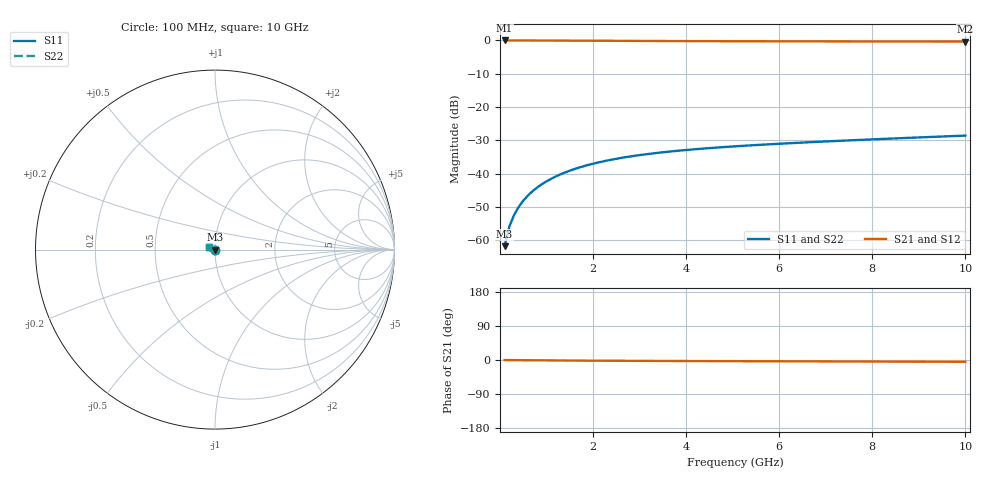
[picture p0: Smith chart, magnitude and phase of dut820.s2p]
! Touchstone file exported from HFSS 2024.1.0
!  File:  C:/UserFiles/LocalFiles/RDL_TSV_Batchsim/temp_TSV1_820_1779877999.aedt
!  Generated:  06:40:50 PM May 27, 2026
!  Design:  TSV1
!  Project:  temp_TSV1_820_1779877999
!  Setup:  Setup1
!  Solution:  Sweep
! Variables:
!  dtsv = 8.17um
!  hbump = 3um
!  htsv = 68.57um
!  lrdl = 252.1521522um
!  p = 40
!  p1 = 55.92um
!  t = 500um
!  trdl = 3um
!  wrdl = 24.89489489um
# GHz S MA R 50.000000
! Terminal data exported
! Port[1] = TSV22_T1
! Port[2] = TSV22_T2
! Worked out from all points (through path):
!   100 points, 100 MHz to 10 GHz, reference 50 ohm
!   highest |S21| = 0.00 dB at 100 MHz (marker M1); lowest = -0.3 dB at 10 GHz (marker M2)
!   lowest |S11| = -61.8 dB at 100 MHz (marker M3), VSWR 1.00, Z = 50 - j0.0793 ohm
!   |S11| at or under -10 dB: start of sweep to end of sweep
!   |S22| runs from -61.8 to -28.6 dB; largest |S21 - S12| = 4.1e-15
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0.1  0.00081 -78.1  0.9998 -0.1  0.9998 -0.1  0.00081 -78.1
! Gamma 0 0 0 0
! Port Impedance 50 0 50 0
0.2  0.001582 -87.3  0.9997 -0.2  0.9997 -0.2  0.001582 -87.3
0.3  0.002359 -91.9  0.9995 -0.3  0.9995 -0.3  0.002359 -91.9
0.4  0.003135 -95.3  0.9993 -0.4  0.9993 -0.4  0.003135 -95.3
0.5  0.003905 -98.2  0.999 -0.5  0.999 -0.5  0.003905 -98.2
0.6  0.004669 -100.8  0.9987 -0.6  0.9987 -0.6  0.004669 -100.8
0.7  0.005425 -103.3  0.9983 -0.7  0.9983 -0.7  0.005425 -103.3
0.8  0.006172 -105.7  0.9978 -0.8  0.9978 -0.8  0.006172 -105.7
0.9  0.006907 -108.0  0.9973 -0.9  0.9973 -0.9  0.006907 -108.0
1.1  0.008342 -112.5  0.9963 -1.1  0.9963 -1.1  0.008342 -112.5
1.4  0.01039 -118.7  0.9944 -1.3  0.9944 -1.3  0.01039 -118.7
1.6  0.01167 -122.7  0.9931 -1.5  0.9931 -1.5  0.01167 -122.7
1.8  0.0129 -126.5  0.9917 -1.6  0.9917 -1.6  0.0129 -126.5
2.1  0.0146 -132.0  0.9896 -1.8  0.9896 -1.8  0.0146 -132.0
2.5  0.01666 -138.8  0.9868 -2.1  0.9868 -2.1  0.01666 -138.8
2.9  0.01849 -145.1  0.9841 -2.3  0.9841 -2.3  0.01849 -145.1
3.4  0.02049 -152.3  0.9811 -2.5  0.9811 -2.5  0.02049 -152.3
4.2  0.0232 -162.4  0.9769 -2.8  0.9769 -2.8  0.0232 -162.4
5.1  0.02576 -172.2  0.9732 -3.1  0.9732 -3.1  0.02576 -172.2
6.7  0.02966 173.8  0.9687 -3.6  0.9687 -3.6  0.02966 173.8
8.4  0.03351 162.0  0.9655 -4.2  0.9655 -4.2  0.03351 162.0
10  0.03717 153.1  0.9634 -4.7  0.9634 -4.7  0.03717 153.1
